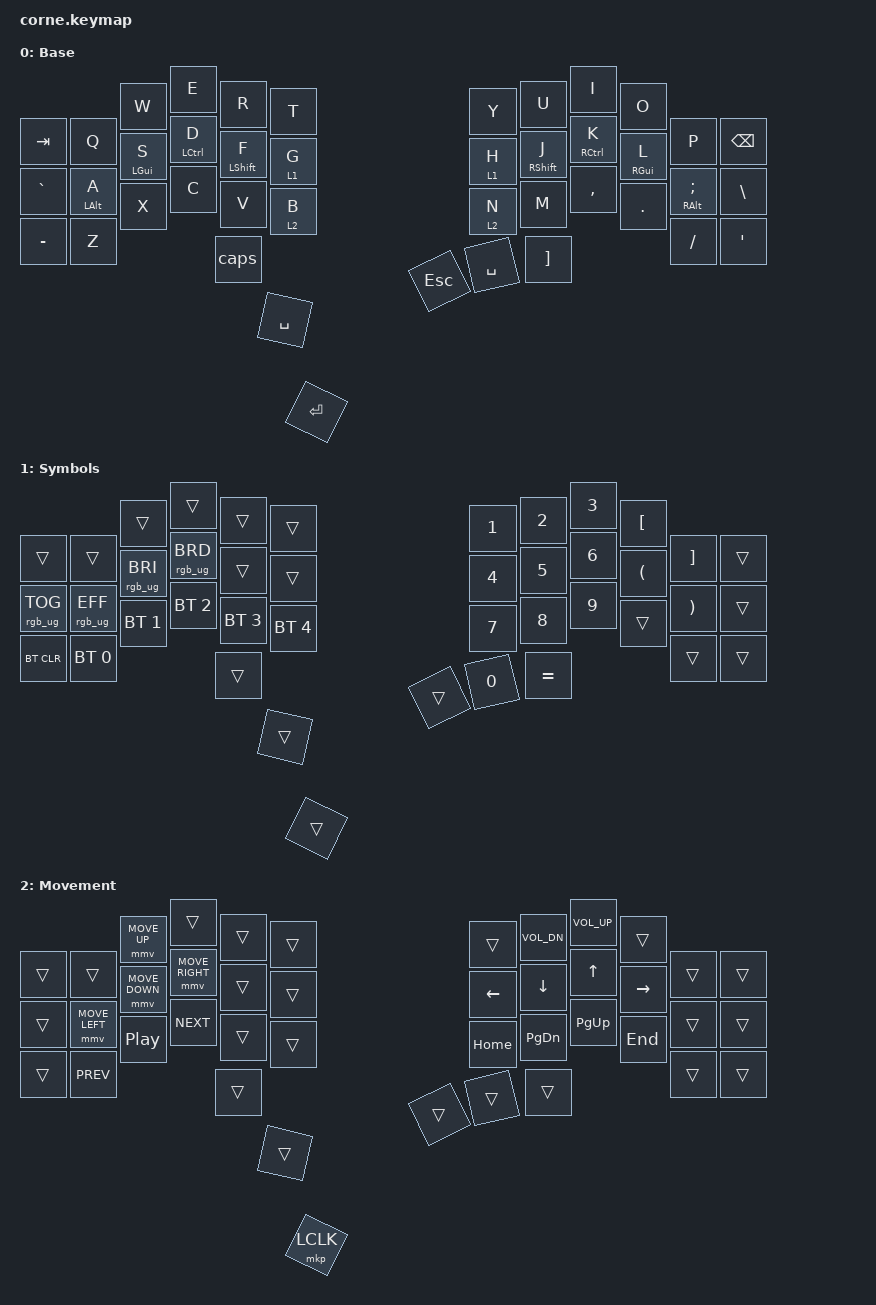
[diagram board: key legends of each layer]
/*
 * Copyright (c) 2020 The ZMK Contributors
 *
 * SPDX-License-Identifier: MIT
 */

#include <behaviors.dtsi>
#include <dt-bindings/zmk/bt.h>
#include <dt-bindings/zmk/keys.h>
#include <dt-bindings/zmk/pointing.h>
#include <dt-bindings/zmk/rgb.h>
#include <dt-bindings/zmk/ext_power.h>

&mmv {
};

/ {
    behaviors {
        hml: hml {
            compatible = "zmk,behavior-hold-tap";
            label = "Home Mod Left";
            bindings = <&kp>, <&kp>;

            #binding-cells = <2>;
            tapping-term-ms = <280>;
            quick-tap-ms = <175>;
            require-prior-idle-ms = <150>;
            flavor = "balanced";
            hold-trigger-key-positions = <19 20 21 22 6 7 8 9 10 11 18 19 20 21 22 23 30 31 32 33 34 35 40 41 39>;
            hold-trigger-on-release;
        };

        hmr: hmr {
            compatible = "zmk,behavior-hold-tap";
            label = "Home Mod Right";
            bindings = <&kp>, <&kp>;

            #binding-cells = <2>;
            tapping-term-ms = <280>;
            quick-tap-ms = <175>;
            require-prior-idle-ms = <150>;
            flavor = "balanced";
            hold-trigger-on-release;
            hold-trigger-key-positions = <0 1 2 3 4 5 12 13 14 15 16 17 24 25 26 27 28 29 36 37 38>;
        };

        caps: caps {
            compatible = "zmk,behavior-tap-dance";
            label = "shift + caps";
            #binding-cells = <0>;
            bindings = <&sk LEFT_SHIFT>, <&caps_word>;
        };
    };

    keymap {
        compatible = "zmk,keymap";

        default_layer {
            display-name = "Base";
            bindings = <
&kp TAB    &kp Q        &kp W        &kp E         &kp R         &kp T        &kp Y    &kp U         &kp I         &kp O        &kp P           &kp BSPC
&kp GRAVE  &hml LALT A  &hml LGUI S  &hml LCTRL D  &hml LSHFT F  &lt 1 G      &lt 1 H  &hmr RSHFT J  &hmr RCTRL K  &hmr RGUI L  &hmr RALT SEMI  &kp BSLH
&kp MINUS  &kp Z        &kp X        &kp C         &kp V         &lt 2 B      &lt 2 N  &kp M         &kp COMMA     &kp DOT      &kp FSLH        &kp SQT
                                     &caps         &kp SPACE     &kp ENTER    &kp ESC  &kp SPACE     &kp RBKT
            >;
        };

        lower_layer {
            display-name = "Symbols";
            bindings = <
&trans          &trans          &trans          &trans          &trans        &trans          &kp N1  &kp N2  &kp N3     &kp LBKT              &kp RBKT               &trans
&rgb_ug RGB_TOG &rgb_ug RGB_EFF &rgb_ug RGB_BRI &rgb_ug RGB_BRD &trans        &trans          &kp N4  &kp N5  &kp N6     &kp LEFT_PARENTHESIS  &kp RIGHT_PARENTHESIS  &trans
&bt BT_CLR      &bt BT_SEL 0    &bt BT_SEL 1    &bt BT_SEL 2    &bt BT_SEL 3  &bt BT_SEL 4    &kp N7  &kp N8  &kp N9     &trans                &trans                 &trans
                                        &trans        &trans        &trans          &trans  &kp N0  &kp EQUAL
            >;
        };

        raise_layer {
            display-name = "Movement";
            bindings = <
&trans  &trans          &mmv MOVE_UP      &trans           &trans  &trans       &trans    &kp C_VOL_DN   &kp C_VOL_UP  &trans     &trans  &trans
&trans  &mmv MOVE_LEFT  &mmv MOVE_DOWN    &mmv MOVE_RIGHT  &trans  &trans       &kp LEFT  &kp DOWN       &kp UP        &kp RIGHT  &trans  &trans
&trans  &kp C_PREV      &kp C_PLAY_PAUSE  &kp C_NEXT       &trans  &trans       &kp HOME  &kp PAGE_DOWN  &kp PAGE_UP   &kp END    &trans  &trans
                                          &trans           &trans  &mkp LCLK    &trans    &trans         &trans
            >;
        };

        extra_1 { status = "reserved"; };

        extra_2 { status = "reserved"; };

        extra_3 { status = "reserved"; };
    };
};
